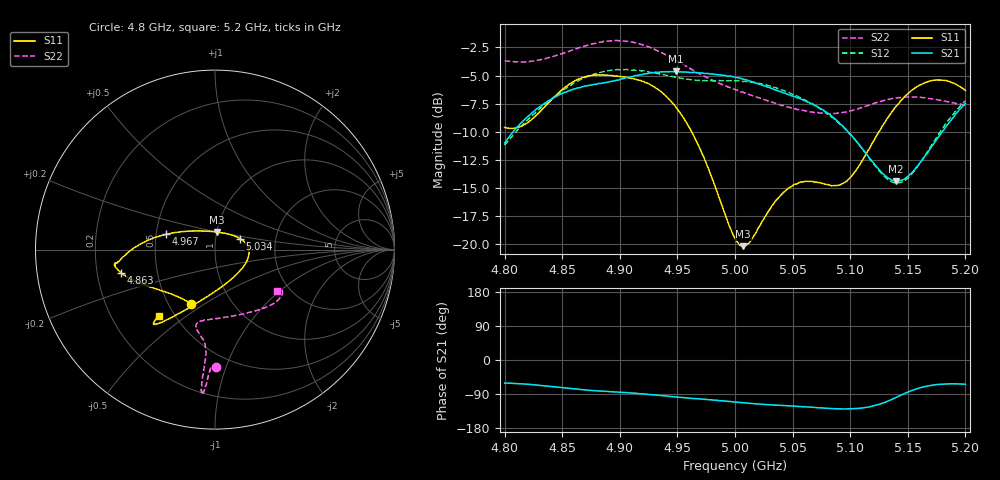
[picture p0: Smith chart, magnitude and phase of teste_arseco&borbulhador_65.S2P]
! Network Analyzer HP8722D
! Hewlett-Packard
! Data name: Linha & Wilkinson
! Saver's name: Rodrigo Anjos
! Comments: Teste da utilização de aquisição
! continua pelo VNA HP8722D
! Time and date: 15/4/2025 16:10
!  Frequency  S11  S21  S12  S22
# HZ  S  MA R 50
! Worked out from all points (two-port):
!   401 points, 4.8 GHz to 5.2 GHz, reference 50 ohm
!   highest |S21| = -4.64 dB at 4.949 GHz (marker M1); lowest = -14.4 dB at 5.14 GHz (marker M2)
!   |S21| within 3 dB of the highest: 4.832 GHz to 5.069 GHz (236.9 MHz wide, 4.79 % of centre); 5.198414 GHz to end of sweep
!   lowest |S11| = -20.1 dB at 5.007 GHz (marker M3), VSWR 1.22, Z = 50.2 + j9.9 ohm
!   |S11| at or under -10 dB: 4.962 GHz to 5.125 GHz (162.6 MHz wide, 3.22 % of centre)
!   |S22| runs from -8.4 to -1.9 dB; largest |S21 - S12| = 0.88
!   S11 on the Smith chart (normalised r, x): 4.8 GHz: 0.65, -0.44; 4.863 GHz: 0.30, -0.11; 4.967 GHz: 0.57, +0.11; 5.034 GHz: 1.31, +0.17; 5.2 GHz: 0.41, -0.40
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4.8e9  0.331 -113.8  0.2826 -61.0  0.2759 -175.0  0.6543 -89.5
4.819e9  0.3453 -133.7  0.365 -63.7  0.3529 -173.4  0.6488 -91.1
4.84e9  0.4349 -152.9  0.4402 -69.7  0.4392 -173.6  0.6784 -92.5
4.863e9  0.5391 -166.2  0.4945 -77.2  0.5297 -176.7  0.7414 -93.5
4.867e9  0.5499 -167.7  0.5007 -78.2  0.5422 -177.3  0.7548 -93.7
4.899e9  0.558 -172.3  0.5371 -84.9  0.5966 175.7  0.8026 -95.1
4.934e9  0.4851 -178.1  0.5802 -93.4  0.5725 171.8  0.7192 -95.6
4.949e9  0.4053 174.8  0.5863 -97.5  0.5522 172.1  0.6566 -95.3
4.967e9  0.2841 162.5  0.578 -102.1  0.5352 174.0  0.5802 -94.9
5e9  0.1068 106.8  0.5524 -111.0  0.5343 176.4  0.4875 -99.2
5.007e9  0.09829 83.0  0.5416 -112.6  0.5285 176.2  0.4741 -100.9
5.014e9  0.1044 60.7  0.5297 -114.5  0.5269 176.2  0.4602 -102.5
5.034e9  0.1528 23.8  0.488 -118.9  0.4989 175.1  0.4254 -103.9
5.05e9  0.1827 6.8  0.4564 -121.5  0.4643 174.4  0.4039 -100.3
5.067e9  0.1908 -11.5  0.4206 -124.9  0.4225 174.1  0.3874 -92.0
5.086e9  0.1826 -41.8  0.364 -128.4  0.3612 173.8  0.3817 -77.6
5.097e9  0.1907 -65.0  0.3213 -129.1  0.3197 174.5  0.388 -68.5
5.134e9  0.3741 -116.1  0.1963 -106.9  0.192 -159.6  0.4419 -43.4
5.14e9  0.4118 -119.8  0.1909 -98.6  0.1879 -150.2  0.4473 -40.6
5.152e9  0.4765 -124.6  0.2049 -82.2  0.2013 -131.3  0.4517 -36.3
5.17e9  0.5334 -128.6  0.2683 -66.9  0.2731 -113.1  0.4441 -32.1
5.2e9  0.4827 -130.4  0.4231 -64.1  0.4346 -106.1  0.4152 -33.5
